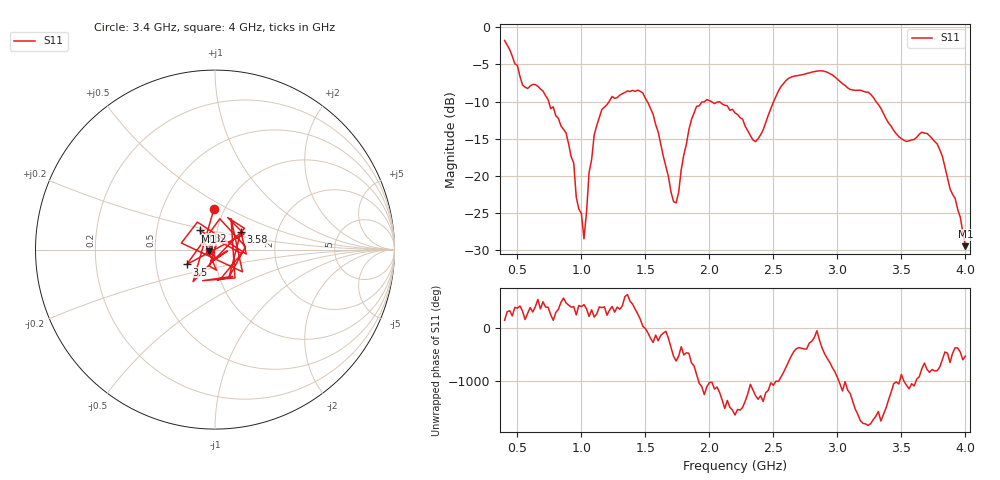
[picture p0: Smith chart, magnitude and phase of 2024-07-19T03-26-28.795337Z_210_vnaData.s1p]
!Created with skrf (http://scikit-rf.org).
# Hz S RI R 50.0
!freq ReS11 ImS11
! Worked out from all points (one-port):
!   181 points, 400 MHz to 4 GHz, reference 50 ohm
!   lowest |S11| = -29.5 dB at 4 GHz (marker M1), VSWR 1.07, Z = 46.8 - j0.822 ohm
!   |S11| at or under -10 dB: 744.3 MHz to 1.216 GHz (471.8 MHz wide, 48.1 % of centre); 2.016 GHz to 2.502 GHz (486.2 MHz wide, 21.5 % of centre); 3.302 GHz to end of sweep (the widest 3 of 4)
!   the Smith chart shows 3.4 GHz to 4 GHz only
!   S11 on the Smith chart (normalised r, x): 3.4 GHz: 0.89, +0.43; 3.5 GHz: 0.72, -0.12; 3.58 GHz: 1.31, +0.27; 3.82 GHz: 0.83, +0.18; 4 GHz: 0.94, -0.02
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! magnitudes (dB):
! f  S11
! 400 MHz  -1.8
! 540 MHz  -7.8
! 700 MHz  -8.6
! 860 MHz  -13.7
! 940 MHz  -18.2
! 960 MHz  -22.9
! 1.02 GHz  -28.5
! 1.06 GHz  -19.5
! 1.1 GHz  -14.5
! 1.16 GHz  -11.0
! 1.3 GHz  -9.1
! 1.48 GHz  -8.8
! 1.6 GHz  -14.1
! 1.72 GHz  -23.5
! 1.76 GHz  -22.2
! 1.84 GHz  -13.7
! 1.9 GHz  -10.6
! 2.2 GHz  -11.5
! 2.36 GHz  -15.4
! 2.66 GHz  -6.6
! 3.1 GHz  -8.4
! 3.4 GHz  -12.9
! 3.5 GHz  -15.0
! 3.56 GHz  -15.3
! 3.58 GHz  -15.1
! 3.7 GHz  -14.3
! 3.82 GHz  -17.4
! 4 GHz  -29.5
